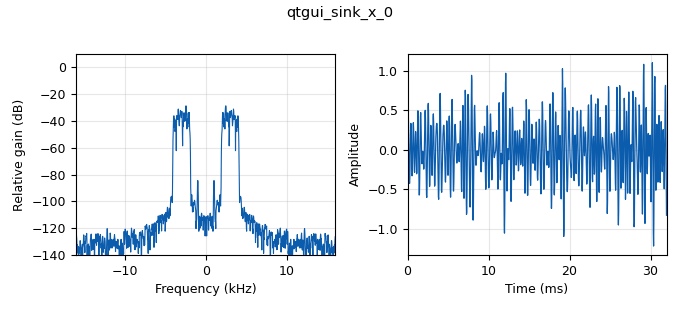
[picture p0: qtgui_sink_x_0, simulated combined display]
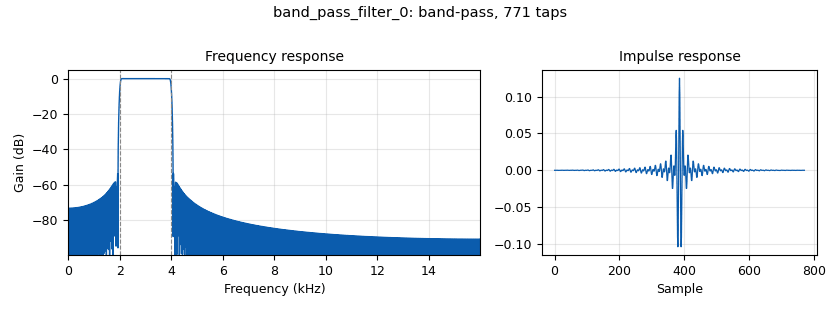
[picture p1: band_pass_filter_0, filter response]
options:
  parameters:
    author: Simon Grundner
    generate_options: qt_gui
    id: test_example
    output_language: python
    title: ElSys_test
  states: {}

blocks:
- name: samp_rate
  id: variable
  parameters:
    value: '32000'
  states: {}
- name: var_bandwidth
  id: variable_qtgui_range
  parameters:
    label: BP Bandwidth
    start: '1000'
    step: '1'
    stop: '10000'
    value: '2000'
  states: {}
- name: var_f_center
  id: variable_qtgui_range
  parameters:
    label: BP Center Frequency
    start: '1000'
    step: '1'
    stop: '10000'
    value: '3000'
  states: {}
- name: analog_noise_source_x_0
  id: analog_noise_source_x
  parameters:
    amp: '1'
    noise_type: analog.GR_GAUSSIAN
    seed: '0'
    type: float
  states: {}
- name: analog_sig_source_x_0
  id: analog_sig_source_x
  parameters:
    amp: '1'
    freq: '1000'
    offset: '0'
    phase: '0'
    samp_rate: samp_rate
    type: float
    waveform: analog.GR_COS_WAVE
  states: {}
- name: audio_sink_0
  id: audio_sink
  parameters:
    samp_rate: samp_rate
  states: {}
- name: band_pass_filter_0
  id: band_pass_filter
  parameters:
    decim: '1'
    gain: '1'
    high_cutoff_freq: var_f_center + var_bandwidth/2
    low_cutoff_freq: var_f_center - var_bandwidth/2
    samp_rate: samp_rate
    type: fir_filter_fff
    width: '100'
    win: window.WIN_HAMMING
  states: {}
- name: blocks_add_xx_0
  id: blocks_add_xx
  parameters:
    type: float
  states: {}
- name: qtgui_sink_x_0
  id: qtgui_sink_x
  parameters:
    bw: samp_rate
    fc: '0'
    fftsize: '1024'
    type: float
  states: {}

connections:
- [analog_noise_source_x_0, '0', blocks_add_xx_0, '0']
- [analog_sig_source_x_0, '0', blocks_add_xx_0, '1']
- [band_pass_filter_0, '0', audio_sink_0, '0']
- [band_pass_filter_0, '0', qtgui_sink_x_0, '0']
- [blocks_add_xx_0, '0', band_pass_filter_0, '0']

metadata:
  file_format: 1
  grc_version: 3.10.12.0
